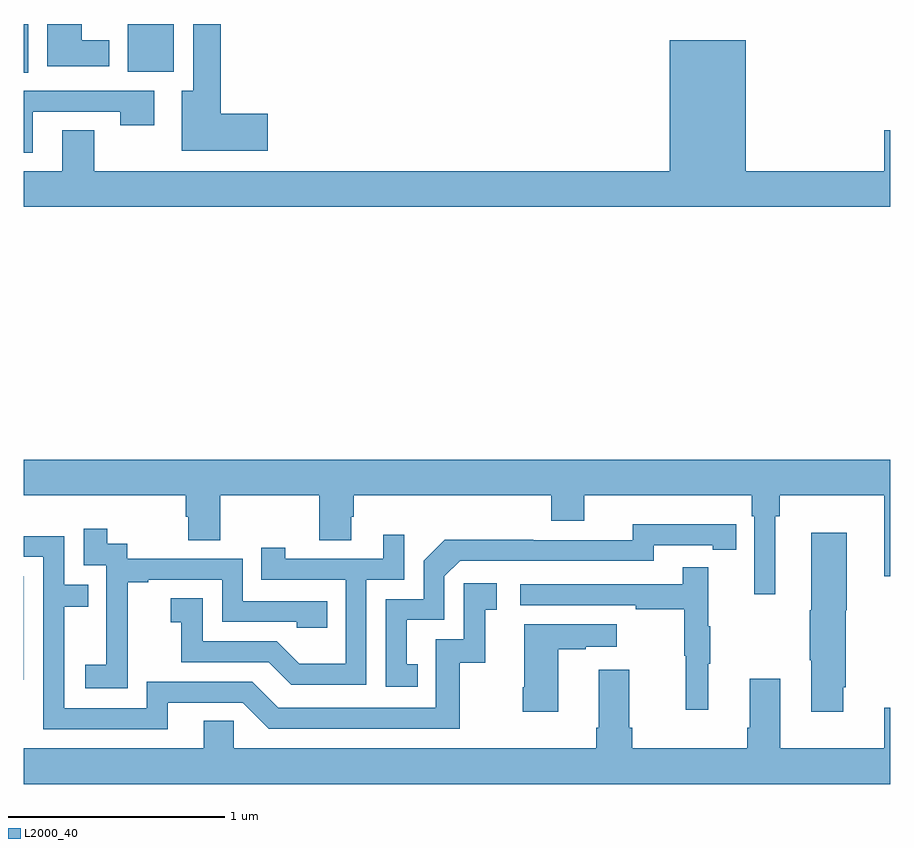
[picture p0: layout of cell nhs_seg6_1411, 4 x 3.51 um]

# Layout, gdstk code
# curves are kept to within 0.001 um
import gdstk
lib = gdstk.Library(unit=1e-6, precision=1e-09)
def R(c, l, rs):  # rectangles x0, y0, x1, y1
    for r in rs: c.add(gdstk.rectangle(r[:2], r[2:], *l))
def P(c, l, *ps):  # polygons
    for p in ps: c.add(gdstk.Polygon(p, *l))
L2000_40 = (2000, 40)

nhs_seg6_1411 = lib.new_cell('nhs_seg6_1411')
R(nhs_seg6_1411, L2000_40, [(197,958.473,197.001,958.95), (197,961.276,197.02,961.5), (197.48,961.28,197.692,961.5)])
P(nhs_seg6_1411, L2000_40, [(197.395,961.426),(197.269,961.426),(197.269,961.5),(197.108,961.5),(197.108,961.304),(197.395,961.304)],
  [(198.127,961.085),(197.909,961.085),(197.909,961.5),(197.783,961.5),(197.783,961.192),(197.729,961.192),(197.729,960.914),(198.127,960.914)],
  [(201,961.009),(200.972,961.009),(200.972,960.82),(200.332,960.82),(200.332,961.426),(199.982,961.426),(199.982,960.82),(197.325,960.82),(197.325,961.01),(197.177,961.01),(197.177,960.82),(197,960.82),(197,960.656),(201,960.656)],
  [(197.041,961.095),(197.446,961.095),(197.446,961.032),(197.602,961.032),(197.602,961.191),(197,961.191),(197,960.906),(197.041,960.906)],
  [(200.47,959.228),(200.489,959.228),(200.489,959.324),(200.972,959.324),(200.972,958.95),(201,958.95),(201,959.488),(197,959.488),(197,959.324),(197.747,959.324),(197.747,959.226),(197.759,959.226),(197.759,959.116),(197.907,959.116),(197.907,959.324),(198.364,959.324),(198.364,959.116),(198.511,959.116),(198.511,959.226),(198.524,959.226),(198.524,959.324),(199.436,959.324),(199.436,959.207),(199.588,959.207),(199.588,959.324),(200.36,959.324),(200.36,959.228),(200.373,959.228),(200.373,958.869),(200.47,958.869)],
  [(198.818,958.545),(198.769,958.545),(198.769,958.749),(198.942,958.749),(198.942,958.95),(199.014,959.022),(199.908,959.022),(199.908,959.094),(200.18,959.094),(200.18,959.074),(200.288,959.074),(200.288,959.19),(199.812,959.191),(199.812,959.118),(199.352,959.118),(199.352,959.12),(198.944,959.12),(198.846,959.022),(198.846,958.845),(198.672,958.845),(198.672,958.44),(198.818,958.44)],
  [(197.481,958.639),(197.48,958.639),(197.48,958.923),(197.575,958.923),(197.575,958.935),(197.916,958.935),(197.916,958.74),(198.261,958.74),(198.261,958.713),(198.401,958.713),(198.401,958.836),(198.012,958.836),(198.012,959.031),(197.478,959.031),(197.478,959.1),(197.386,959.1),(197.386,959.17),(197.277,959.17),(197.277,959.001),(197.382,959.001),(197.382,958.772),(197.381,958.772),(197.381,958.543),(197.283,958.543),(197.283,958.433),(197.481,958.433)],
  [(200.782,958.438),(200.795,958.438),(200.795,958.794),(200.8,958.794),(200.8,959.152),(200.636,959.152),(200.636,958.794),(200.629,958.794),(200.629,958.564),(200.636,958.564),(200.636,958.326),(200.782,958.326)],
  [(198.582,958.935),(198.756,958.935),(198.756,959.143),(198.659,959.143),(198.659,959.031),(198.208,959.031),(198.208,959.083),(198.097,959.083),(198.097,958.935),(198.486,958.935),(198.486,958.546),(198.272,958.546),(198.168,958.65),(197.826,958.65),(197.826,958.849),(197.679,958.849),(197.679,958.739),(197.728,958.739),(197.728,958.554),(198.131,958.554),(198.236,958.449),(198.582,958.449)],
  [(197.665,958.368),(198.012,958.368),(198.132,958.248),(199.012,958.248),(199.012,958.551),(199.13,958.551),(199.13,958.797),(199.183,958.797),(199.183,958.918),(199.032,958.918),(199.032,958.659),(198.903,958.659),(198.903,958.344),(198.174,958.344),(198.054,958.464),(197.568,958.464),(197.568,958.341),(197.187,958.341),(197.187,958.81),(197.297,958.81),(197.297,958.911),(197.187,958.911),(197.187,959.136),(197,959.136),(197,959.04),(197.091,959.04),(197.091,958.245),(197.665,958.245)],
  [(200.159,958.547),(200.17,958.547),(200.17,958.721),(200.159,958.721),(200.159,958.993),(200.041,958.993),(200.041,958.914),(199.293,958.914),(199.293,958.818),(199.825,958.818),(199.825,958.798),(200.049,958.798),(200.049,958.584),(200.056,958.584),(200.056,958.335),(200.159,958.335)],
  [(199.468,958.615),(199.595,958.615),(199.595,958.625),(199.738,958.625),(199.738,958.729),(199.31,958.729),(199.31,958.438),(199.303,958.438),(199.303,958.326),(199.468,958.326)],
  [(201,958.345),(200.972,958.345),(200.972,958.156),(200.491,958.156),(200.491,958.477),(200.351,958.477),(200.351,958.252),(200.339,958.252),(200.339,958.156),(199.808,958.156),(199.808,958.252),(199.795,958.252),(199.795,958.519),(199.655,958.519),(199.655,958.252),(199.643,958.252),(199.643,958.156),(197.97,958.156),(197.97,958.283),(197.831,958.283),(197.831,958.156),(197,958.156),(197,957.992),(201,957.992)])

lib.write_gds('nhs_seg6_1411.gds')
